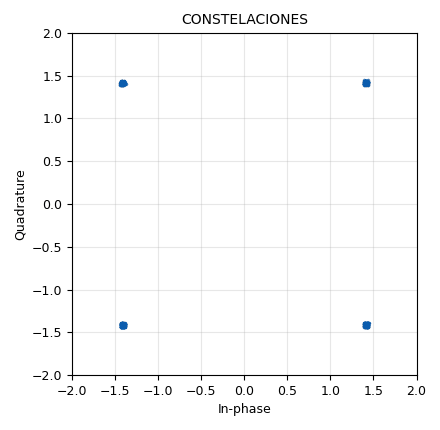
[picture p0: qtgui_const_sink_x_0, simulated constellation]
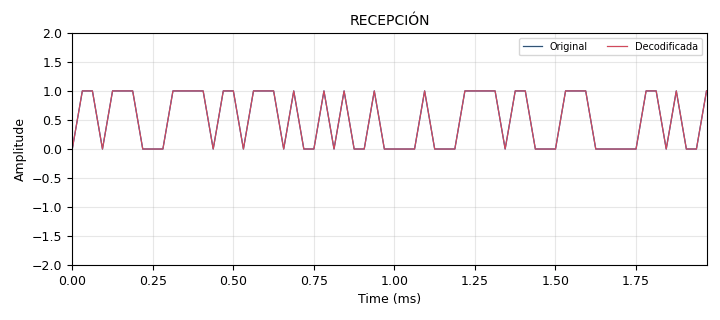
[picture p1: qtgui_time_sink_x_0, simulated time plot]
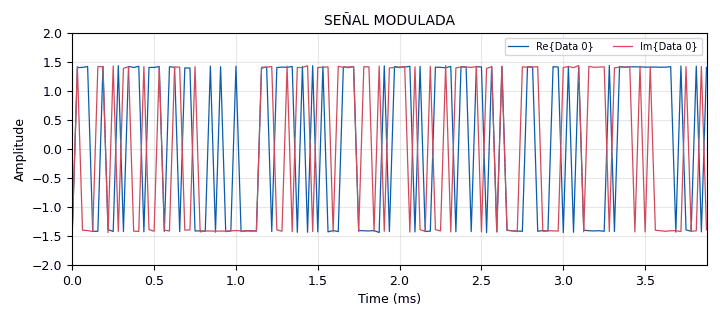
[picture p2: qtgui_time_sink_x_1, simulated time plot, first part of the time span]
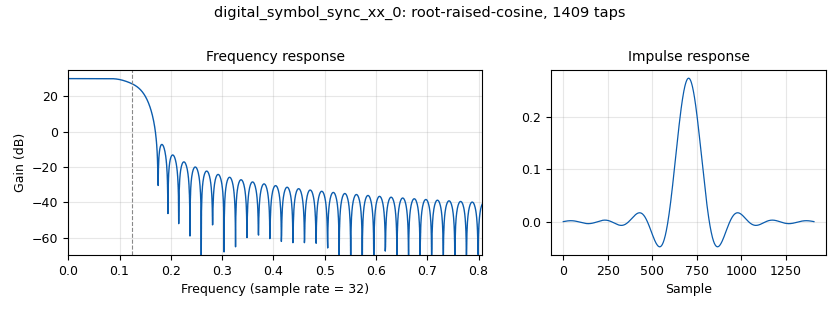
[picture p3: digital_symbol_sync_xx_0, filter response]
options:
  parameters:
    author: Camila Vinza
    category: Custom
    generate_options: qt_gui
    id: QAM
    output_language: python
    title: QAM
  states: {}

blocks:
- name: delay
  id: variable_qtgui_range
  parameters:
    comment: 0,3,1,1
    gui_hint: 0,2,1,2
    label: Delay
    start: '0'
    step: '1'
    stop: '200'
    value: '32'
  states: {}
- name: excess_bw
  id: variable
  parameters:
    value: '0.35'
  states: {}
- name: freq_rds
  id: variable
  parameters:
    value: 77e6
  states: {}
- name: gainrx
  id: variable_qtgui_range
  parameters:
    label: GananciaRx
    start: '0'
    step: '1'
    stop: '100'
    value: '0'
  states: {}
- name: gaintx
  id: variable_qtgui_range
  parameters:
    label: GananciaTx
    start: '1'
    step: '1'
    stop: '100'
    value: '75'
  states: {}
- name: nfilts
  id: variable
  parameters:
    value: '32'
  states: {}
- name: phase_bw
  id: variable
  parameters:
    value: '0.0628'
  states: {}
- name: qam_16qam
  id: variable_constellation
  parameters:
    precision: '8'
    type: 16qam
  states: {}
- name: qam_4qam
  id: variable_constellation_rect
  parameters:
    const_points: '[0.707+0.707j,-0.707+0.707j, -0.707-0.707j, 0.707-0.707j ]'
    imag_sect: '2'
    real_sect: '2'
    rot_sym: '4'
    sym_map: '[0, 1, 2, 3]'
    w_imag_sect: '1'
    w_real_sect: '1'
  states: {}
- name: qam_8qam
  id: variable_constellation_rect
  parameters:
    const_points: '[0.353+0.0353j, -0.353+0.0353j, -0.353-0.354j,0.353-0.353j,0.707+0.707j,-0.707+0.707j, -0.707-0.707j, 0.707-0.707j ]'
    imag_sect: '2'
    real_sect: '2'
    rot_sym: '4'
    sym_map: '[0, 1, 2, 3,4,5,6,7]'
    w_imag_sect: '1'
    w_real_sect: '1'
  states: {}
- name: rrc_taps
  id: variable
  parameters:
    value: firdes.root_raised_cosine(nfilts, nfilts, 1.0/float(sps), 0.35, 11*sps*nfilts)
  states: {}
- name: samp_rate
  id: variable
  parameters:
    value: '32000'
  states: {}
- name: samp_rate_RDS
  id: variable
  parameters:
    value: 96e3
  states: {}
- name: selector
  id: variable_qtgui_chooser
  parameters:
    gui_hint: 0,4,1,1
    label: MODULACIÓN
    label0: 4QAM / QPSK
    label1: 8QAM
    label2: 16QAM
    num_opts: '3'
    option0: '0'
    option1: '1'
    option2: '2'
    type: int
    value: '0'
    widget: radio_buttons
  states: {}
- name: sps
  id: variable
  parameters:
    value: '4'
  states: {}
- name: variable_adaptive_algorithm_0
  id: variable_adaptive_algorithm
  parameters:
    cons: qam_8qam
    modulus: '4'
    step_size: '.0001'
    type: cma
  states: {}
- name: analog_random_source_x_0
  id: analog_random_source_x
  parameters:
    max: '256'
    min: '0'
    num_samps: '10000'
    repeat: 'True'
    type: byte
  states: {}
- name: blocks_char_to_float_0_0
  id: blocks_char_to_float
  parameters:
    scale: '1'
  states: {}
- name: blocks_char_to_float_0_0_0
  id: blocks_char_to_float
  parameters:
    scale: '1'
  states: {}
- name: blocks_delay_0
  id: blocks_delay
  parameters:
    delay: int(delay)
    type: float
  states: {}
- name: blocks_selector_0
  id: blocks_selector
  parameters:
    enabled: 'True'
    input_index: selector
    num_inputs: '3'
    num_outputs: '1'
    output_index: '0'
    type: complex
  states: {}
- name: blocks_selector_1
  id: blocks_selector
  parameters:
    enabled: 'True'
    input_index: '0'
    num_inputs: '1'
    num_outputs: '3'
    output_index: selector
    type: complex
  states: {}
- name: blocks_throttle2_0
  id: blocks_throttle2
  parameters:
    samples_per_second: samp_rate
    type: complex
  states: {}
- name: blocks_throttle2_1
  id: blocks_throttle2
  parameters:
    samples_per_second: samp_rate
    type: float
  states: {}
- name: blocks_unpack_k_bits_bb_0
  id: blocks_unpack_k_bits_bb
  parameters:
    k: '2'
  states: {}
- name: blocks_unpack_k_bits_bb_0_0
  id: blocks_unpack_k_bits_bb
  parameters:
    k: '8'
  states: {}
- name: digital_constellation_decoder_cb_0
  id: digital_constellation_decoder_cb
  parameters:
    comment: 8QAM
    constellation: qam_8qam
  states: {}
- name: digital_constellation_decoder_cb_0_0
  id: digital_constellation_decoder_cb
  parameters:
    comment: QPSK / 4QAM
    constellation: qam_4qam
  states: {}
- name: digital_constellation_decoder_cb_0_1
  id: digital_constellation_decoder_cb
  parameters:
    comment: 16QAM
    constellation: qam_16qam
  states: {}
- name: digital_constellation_modulator_0
  id: digital_constellation_modulator
  parameters:
    constellation: qam_4qam
    differential: 'True'
    excess_bw: excess_bw
    samples_per_symbol: sps
  states: {}
- name: digital_constellation_modulator_0_0
  id: digital_constellation_modulator
  parameters:
    constellation: qam_8qam
    differential: 'True'
    excess_bw: excess_bw
    samples_per_symbol: sps
  states: {}
- name: digital_constellation_modulator_0_0_0
  id: digital_constellation_modulator
  parameters:
    constellation: qam_16qam
    differential: 'True'
    excess_bw: excess_bw
    samples_per_symbol: sps
  states: {}
- name: digital_costas_loop_cc_0
  id: digital_costas_loop_cc
  parameters:
    order: '16'
    w: phase_bw
  states: {}
- name: digital_diff_decoder_bb_0
  id: digital_diff_decoder_bb
  parameters:
    coding: digital.DIFF_DIFFERENTIAL
    modulus: '4'
  states: {}
- name: digital_diff_decoder_bb_0_0
  id: digital_diff_decoder_bb
  parameters:
    coding: digital.DIFF_DIFFERENTIAL
    modulus: '4'
  states: {}
- name: digital_diff_decoder_bb_0_1
  id: digital_diff_decoder_bb
  parameters:
    coding: digital.DIFF_DIFFERENTIAL
    modulus: '4'
  states: {}
- name: digital_linear_equalizer_0
  id: digital_linear_equalizer
  parameters:
    alg: variable_adaptive_algorithm_0
    num_taps: '15'
    sps: '2'
  states: {}
- name: digital_map_bb_0
  id: digital_map_bb
  parameters:
    map: '[0,1,2,3,4,5,6,7]'
  states: {}
- name: digital_map_bb_0_0
  id: digital_map_bb
  parameters:
    map: '[0,1,2,3]'
  states: {}
- name: digital_map_bb_0_1
  id: digital_map_bb
  parameters:
    map: '[0,1,2,3,4,5,6,7,8,9,10,11,12,13,14,15]'
  states: {}
- name: digital_symbol_sync_xx_0
  id: digital_symbol_sync_xx
  parameters:
    damping: '1.0'
    loop_bw: phase_bw
    max_dev: '1.5'
    nfilters: '32'
    osps: '2'
    pfb_mf_taps: rrc_taps
    resamp_type: digital.IR_PFB_MF
    sps: sps
    ted_gain: '1.0'
    ted_type: digital.TED_SIGNAL_TIMES_SLOPE_ML
    type: cc
  states: {}
- name: fec_ber_bf_0
  id: fec_ber_bf
  parameters:
    test_mode: 'False'
  states: {}
- name: qtgui_const_sink_x_0
  id: qtgui_const_sink_x
  parameters:
    comment: 2,0,1,2
    gui_hint: 2,0,1,1
    name: CONSTELACIONES
    size: '1024'
    type: complex
  states: {}
- name: qtgui_number_sink_0
  id: qtgui_number_sink
  parameters:
    autoscale: 'True'
    graph_type: qtgui.NUM_GRAPH_HORIZ
    gui_hint: 0,0,1,2
    name: '"BER"'
    type: float
  states: {}
- name: qtgui_time_sink_x_0
  id: qtgui_time_sink_x
  parameters:
    comment: 2,2,1,4
    ctrlpanel: 'True'
    gui_hint: 2,1,1,6
    label1: Original
    label2: Decodificada
    name: RECEPCIÓN
    nconnections: '2'
    size: '64'
    srate: samp_rate
    tr_mode: qtgui.TRIG_MODE_AUTO
    type: float
    update_time: '0.3'
    ymax: '2'
    ymin: '-2'
  states: {}
- name: qtgui_time_sink_x_1
  id: qtgui_time_sink_x
  parameters:
    ctrlpanel: 'True'
    gui_hint: 3,0,1,7
    name: '"SEÑAL MODULADA"'
    size: '256'
    srate: samp_rate
    type: complex
    update_time: '0.30'
    ymax: '2'
    ymin: '-2'
  states: {}
- name: selector111
  id: blocks_selector
  parameters:
    enabled: 'True'
    input_index: selector
    num_inputs: '3'
    num_outputs: '1'
    output_index: '0'
    type: byte
  states: {}
- name: uhd_usrp_sink_0_0
  id: uhd_usrp_sink
  parameters:
    ant0: '"TX/RX"'
    bw0: 10e3
    center_freq0: freq_rds
    comment: Transmisor USRP
    dev_addr: '"serial=30875AE"'
    gain0: gaintx
    samp_rate: samp_rate
    sync: pc_clock
    type: fc32
  states: {state: disabled}
- name: uhd_usrp_source_0
  id: uhd_usrp_source
  parameters:
    ant0: '"RX2"'
    bw0: 10e3
    center_freq0: freq_rds
    comment: Receptor USRP
    dev_addr: '"serial=30875AE"'
    gain0: gainrx
    samp_rate: samp_rate
    sync: pc_clock_next_pps
    type: fc32
  states: {state: disabled}
- name: virtual_sink_0
  id: virtual_sink
  parameters:
    stream_id: r1
  states: {}
- name: virtual_sink_1
  id: virtual_sink
  parameters:
    stream_id: 8qam
  states: {}
- name: virtual_sink_1_0
  id: virtual_sink
  parameters:
    stream_id: 4qam
  states: {}
- name: virtual_sink_1_1
  id: virtual_sink
  parameters:
    stream_id: 16qam
  states: {}
- name: virtual_sink_2
  id: virtual_sink
  parameters:
    stream_id: t1
  states: {}
- name: virtual_source_0
  id: virtual_source
  parameters:
    stream_id: r1
  states: {}
- name: virtual_source_1
  id: virtual_source
  parameters:
    stream_id: 8qam
  states: {}
- name: virtual_source_1_0
  id: virtual_source
  parameters:
    stream_id: 4qam
  states: {}
- name: virtual_source_1_1
  id: virtual_source
  parameters:
    stream_id: 16qam
  states: {}
- name: virtual_source_2
  id: virtual_source
  parameters:
    stream_id: t1
  states: {}

connections:
- [analog_random_source_x_0, '0', digital_constellation_modulator_0, '0']
- [analog_random_source_x_0, '0', digital_constellation_modulator_0_0, '0']
- [analog_random_source_x_0, '0', digital_constellation_modulator_0_0_0, '0']
- [analog_random_source_x_0, '0', virtual_sink_2, '0']
- [blocks_char_to_float_0_0, '0', qtgui_time_sink_x_0, '0']
- [blocks_char_to_float_0_0_0, '0', blocks_delay_0, '0']
- [blocks_delay_0, '0', qtgui_time_sink_x_0, '1']
- [blocks_selector_0, '0', blocks_throttle2_0, '0']
- [blocks_selector_1, '0', digital_constellation_decoder_cb_0_0, '0']
- [blocks_selector_1, '1', digital_constellation_decoder_cb_0, '0']
- [blocks_selector_1, '2', digital_constellation_decoder_cb_0_1, '0']
- [blocks_throttle2_0, '0', digital_symbol_sync_xx_0, '0']
- [blocks_throttle2_1, '0', qtgui_number_sink_0, '0']
- [blocks_unpack_k_bits_bb_0, '0', blocks_char_to_float_0_0, '0']
- [blocks_unpack_k_bits_bb_0, '0', fec_ber_bf_0, '0']
- [blocks_unpack_k_bits_bb_0_0, '0', blocks_char_to_float_0_0_0, '0']
- [blocks_unpack_k_bits_bb_0_0, '0', fec_ber_bf_0, '1']
- [digital_constellation_decoder_cb_0, '0', digital_diff_decoder_bb_0, '0']
- [digital_constellation_decoder_cb_0_0, '0', digital_diff_decoder_bb_0_0, '0']
- [digital_constellation_decoder_cb_0_1, '0', digital_diff_decoder_bb_0_1, '0']
- [digital_constellation_modulator_0, '0', blocks_selector_0, '0']
- [digital_constellation_modulator_0_0, '0', blocks_selector_0, '1']
- [digital_constellation_modulator_0_0_0, '0', blocks_selector_0, '2']
- [digital_costas_loop_cc_0, '0', blocks_selector_1, '0']
- [digital_costas_loop_cc_0, '0', qtgui_const_sink_x_0, '0']
- [digital_diff_decoder_bb_0, '0', digital_map_bb_0, '0']
- [digital_diff_decoder_bb_0_0, '0', digital_map_bb_0_0, '0']
- [digital_diff_decoder_bb_0_1, '0', digital_map_bb_0_1, '0']
- [digital_linear_equalizer_0, '0', qtgui_time_sink_x_1, '0']
- [digital_linear_equalizer_0, '0', uhd_usrp_sink_0_0, '0']
- [digital_linear_equalizer_0, '0', virtual_sink_0, '0']
- [digital_map_bb_0, '0', virtual_sink_1, '0']
- [digital_map_bb_0_0, '0', virtual_sink_1_0, '0']
- [digital_map_bb_0_1, '0', virtual_sink_1_1, '0']
- [digital_symbol_sync_xx_0, '0', digital_linear_equalizer_0, '0']
- [fec_ber_bf_0, '0', blocks_throttle2_1, '0']
- [selector111, '0', blocks_unpack_k_bits_bb_0, '0']
- [uhd_usrp_source_0, '0', digital_costas_loop_cc_0, '0']
- [virtual_source_0, '0', digital_costas_loop_cc_0, '0']
- [virtual_source_1, '0', selector111, '1']
- [virtual_source_1_0, '0', selector111, '0']
- [virtual_source_1_1, '0', selector111, '2']
- [virtual_source_2, '0', blocks_unpack_k_bits_bb_0_0, '0']

metadata:
  file_format: 1
  grc_version: 3.10.8.0
